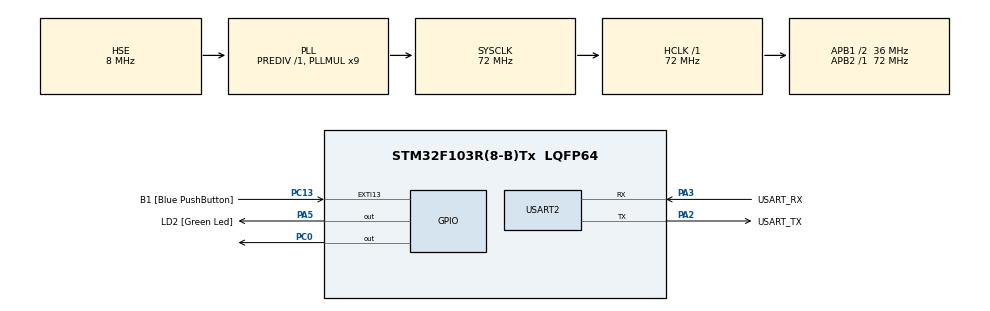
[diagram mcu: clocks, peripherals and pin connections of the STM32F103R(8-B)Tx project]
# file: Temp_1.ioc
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FREERTOS.Queues01=dhtQueue,16,uint16_t,0,Dynamic,NULL,NULL
FREERTOS.Tasks01=SensorTask,24,128,StartSensorTask,Default,NULL,Dynamic,NULL,NULL;UartTask,8,128,StartUartTask,Default,NULL,Dynamic,NULL,NULL
FREERTOS.configUSE_NEWLIB_REENTRANT=1
Mcu.Family=STM32F1
Mcu.Name=STM32F103R(8-B)Tx
Mcu.Package=LQFP64
NVIC.EXTI15_10_IRQn=true\:5\:0\:false\:false\:true\:true\:true\:true\:true
NVIC.PriorityGroup=NVIC_PRIORITYGROUP_4
NVIC.TIM1_UP_IRQn=true\:15\:0\:false\:false\:true\:false\:false\:true\:true
NVIC.TimeBase=TIM1_UP_IRQn
NVIC.TimeBaseIP=TIM1
PA13.GPIO_Label=TMS
PA13.Mode=Serial_Wire
PA13.Signal=SYS_JTMS-SWDIO
PA14.GPIO_Label=TCK
PA14.Mode=Serial_Wire
PA14.Signal=SYS_JTCK-SWCLK
PA2.GPIO_Label=USART_TX
PA2.GPIO_Mode=GPIO_MODE_AF_PP
PA2.GPIO_PuPd=GPIO_NOPULL
PA2.GPIO_Speed=GPIO_SPEED_FREQ_LOW
PA2.Mode=Asynchronous
PA2.Signal=USART2_TX
PA3.GPIO_Label=USART_RX
PA3.GPIO_Mode=GPIO_MODE_AF_PP
PA3.GPIO_PuPd=GPIO_NOPULL
PA3.GPIO_Speed=GPIO_SPEED_FREQ_LOW
PA3.Mode=Asynchronous
PA3.Signal=USART2_RX
PA5.GPIO_Label=LD2 [Green Led]
PA5.GPIO_ModeDefaultOutputPP=GPIO_MODE_OUTPUT_PP
PA5.GPIO_PuPd=GPIO_NOPULL
PA5.GPIO_Speed=GPIO_SPEED_FREQ_LOW
PA5.Signal=GPIO_Output
PB3.GPIO_Label=SWO
PB3.Signal=SYS_JTDO-TRACESWO
PC0.Signal=GPIO_Output
PC13-TAMPER-RTC.GPIO_Label=B1 [Blue PushButton]
PC13-TAMPER-RTC.GPIO_PuPd=GPIO_NOPULL
PC13-TAMPER-RTC.Signal=GPXTI13
PC14-OSC32_IN.Mode=LSE-External-Oscillator
PC14-OSC32_IN.Signal=RCC_OSC32_IN
PC15-OSC32_OUT.Mode=LSE-External-Oscillator
PC15-OSC32_OUT.Signal=RCC_OSC32_OUT
PD0-OSC_IN.Mode=HSE-External-Clock-Source
PD0-OSC_IN.Signal=RCC_OSC_IN
PD1-OSC_OUT.Mode=HSE-External-Clock-Source
PD1-OSC_OUT.Signal=RCC_OSC_OUT
ProjectManager.HeapSize=0x200
ProjectManager.StackSize=0x400
ProjectManager.TargetToolchain=CMake
RCC.AHBFreq_Value=72000000
RCC.APB1CLKDivider=RCC_HCLK_DIV2
RCC.APB1Freq_Value=36000000
RCC.APB1TimFreq_Value=72000000
RCC.APB2Freq_Value=72000000
RCC.APB2TimFreq_Value=72000000
RCC.HCLKFreq_Value=72000000
RCC.PLLMUL=RCC_PLL_MUL9
RCC.PLLSourceVirtual=RCC_PLLSOURCE_HSE
RCC.RTCClockSelection=RCC_RTCCLKSOURCE_LSE
RCC.SYSCLKFreq_VALUE=72000000
RCC.SYSCLKSource=RCC_SYSCLKSOURCE_PLLCLK
RCC.USBFreq_Value=72000000
TIM2.Prescaler=71
USART2.VirtualMode=VM_ASYNC
VP_FREERTOS_VS_CMSIS_V2.Mode=CMSIS_V2
VP_SYS_VS_tim1.Mode=TIM1
VP_TIM2_VS_ClockSourceINT.Mode=Internal
board=NUCLEO-F103RB

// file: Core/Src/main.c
/* USER CODE BEGIN Header */
/**
  ******************************************************************************
  * @file           : main.c
  * @brief          : Main program body
  ******************************************************************************
  * @attention
  *
  * Copyright (c) 2026 STMicroelectronics.
  * All rights reserved.
  *
  * This software is licensed under terms that can be found in the LICENSE file
  * in the root directory of this software component.
  * If no LICENSE file comes with this software, it is provided AS-IS.
  *
  ******************************************************************************
  */
/* USER CODE END Header */
#include "main.h"
#include "cmsis_os.h"
#include "tim.h"
#include "usart.h"
#include "gpio.h"

void SystemClock_Config(void);
void MX_FREERTOS_Init(void);

int main(void)
{

  /* MCU Configuration--------------------------------------------------------*/

  /* Reset of all peripherals, Initializes the Flash interface and the Systick. */
  HAL_Init();

  /* Configure the system clock */
  SystemClock_Config();

  /* Initialize all configured peripherals */
  MX_GPIO_Init();
  MX_USART2_UART_Init();
  MX_TIM2_Init();

  /* Init scheduler */
  osKernelInitialize();  /* Call init function for freertos objects (in cmsis_os2.c) */
  MX_FREERTOS_Init();

  /* Start scheduler */
  osKernelStart();

  /* We should never get here as control is now taken by the scheduler */

  /* Infinite loop */
  while (1)
  {

  }
}

void SystemClock_Config(void)
{
  RCC_OscInitTypeDef RCC_OscInitStruct = {0};
  RCC_ClkInitTypeDef RCC_ClkInitStruct = {0};

  /** Initializes the RCC Oscillators according to the specified parameters
  * in the RCC_OscInitTypeDef structure.
  */
  RCC_OscInitStruct.OscillatorType = RCC_OSCILLATORTYPE_HSE;
  RCC_OscInitStruct.HSEState = RCC_HSE_BYPASS;
  RCC_OscInitStruct.HSEPredivValue = RCC_HSE_PREDIV_DIV1;
  RCC_OscInitStruct.HSIState = RCC_HSI_ON;
  RCC_OscInitStruct.PLL.PLLState = RCC_PLL_ON;
  RCC_OscInitStruct.PLL.PLLSource = RCC_PLLSOURCE_HSE;
  RCC_OscInitStruct.PLL.PLLMUL = RCC_PLL_MUL9;
  if (HAL_RCC_OscConfig(&RCC_OscInitStruct) != HAL_OK)
  {
    Error_Handler();
  }

  /** Initializes the CPU, AHB and APB buses clocks
  */
  RCC_ClkInitStruct.ClockType = RCC_CLOCKTYPE_HCLK|RCC_CLOCKTYPE_SYSCLK
                              |RCC_CLOCKTYPE_PCLK1|RCC_CLOCKTYPE_PCLK2;
  RCC_ClkInitStruct.SYSCLKSource = RCC_SYSCLKSOURCE_PLLCLK;
  RCC_ClkInitStruct.AHBCLKDivider = RCC_SYSCLK_DIV1;
  RCC_ClkInitStruct.APB1CLKDivider = RCC_HCLK_DIV2;
  RCC_ClkInitStruct.APB2CLKDivider = RCC_HCLK_DIV1;

  if (HAL_RCC_ClockConfig(&RCC_ClkInitStruct, FLASH_LATENCY_2) != HAL_OK)
  {
    Error_Handler();
  }
}

void HAL_TIM_PeriodElapsedCallback(TIM_HandleTypeDef *htim)
{
  if (htim->Instance == TIM1)
  {
    HAL_IncTick();
  }
}

void Error_Handler(void)
{
  __disable_irq();
  while (1)
  {
  }
}

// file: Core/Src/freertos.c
/* USER CODE BEGIN Header */
/**
  ******************************************************************************
  * File Name          : freertos.c
  * Description        : Code for freertos applications
  ******************************************************************************
  * @attention
  *
  * Copyright (c) 2026 STMicroelectronics.
  * All rights reserved.
  *
  * This software is licensed under terms that can be found in the LICENSE file
  * in the root directory of this software component.
  * If no LICENSE file comes with this software, it is provided AS-IS.
  *
  ******************************************************************************
  */
/* USER CODE END Header */

#include "main.h"
#include "FreeRTOS.h"
#include "cmsis_os2.h"
#include "stm32f1xx_hal_tim.h"
#include "stm32f1xx_hal_uart.h"
#include "task.h"
#include "cmsis_os.h"
#include "tim.h"
#include "usart.h"
#include <stdint.h>

/* USER CODE BEGIN Includes */

#include <stdio.h>

/* USER CODE END Includes */

/* USER CODE BEGIN PTD */

typedef struct {
    int temperature;
    int humidity;
} DHT_Data_t;

/* USER CODE END PTD */

/* USER CODE BEGIN Variables */

extern TIM_HandleTypeDef htim2;

/* USER CODE END Variables */
/* Definitions for SensorTask */
osThreadId_t SensorTaskHandle;
const osThreadAttr_t SensorTask_attributes = {
  .name = "SensorTask",
  .stack_size = 128 * 4,
  .priority = (osPriority_t) osPriorityNormal,
};
/* Definitions for UartTask */
osThreadId_t UartTaskHandle;
const osThreadAttr_t UartTask_attributes = {
  .name = "UartTask",
  .stack_size = 128 * 4,
  .priority = (osPriority_t) osPriorityLow,
};
/* Definitions for dhtQueue */
osMessageQueueId_t dhtQueueHandle;
const osMessageQueueAttr_t dhtQueue_attributes = {
  .name = "dhtQueue"
};

/* USER CODE BEGIN FunctionPrototypes */

void Set_Pin_Output(void);
void Set_Pin_Input(void);
uint8_t Read_DHT22(int *Temperature, int *Humidity);
void delay_us(uint16_t us);

/* USER CODE END FunctionPrototypes */

void StartSensorTask(void *argument);
void StartUartTask(void *argument);

void MX_FREERTOS_Init(void); /* (MISRA C 2004 rule 8.1) */

void MX_FREERTOS_Init(void) {

  /* Create the queue(s) */
  /* creation of dhtQueue */
  dhtQueueHandle = osMessageQueueNew (16, sizeof(DHT_Data_t), &dhtQueue_attributes);

  /* Create the thread(s) */
  /* creation of SensorTask */
  SensorTaskHandle = osThreadNew(StartSensorTask, NULL, &SensorTask_attributes);

  /* creation of UartTask */
  UartTaskHandle = osThreadNew(StartUartTask, NULL, &UartTask_attributes);

}

void StartSensorTask(void *argument)
{
  /* USER CODE BEGIN StartSensorTask */
  /* Infinite loop */

    DHT_Data_t data;

    for(;;)
    {
        // Start measurement
        if (Read_DHT22(&data.temperature, &data.humidity) ){
            // Send to queue
            osMessageQueuePut(dhtQueueHandle, &data, 0, 0);

        }

        osDelay(3000);
    }

  /* USER CODE END StartSensorTask */
}

void StartUartTask(void *argument)
{
  /* USER CODE BEGIN StartUartTask */
  /* Infinite loop */

    DHT_Data_t received;
    char buf[64];

    for(;;)
    {
        if (osMessageQueueGet(dhtQueueHandle, &received, NULL, osWaitForever) == osOK){
            int temp_int = received.temperature / 10;
            int temp_dec = received.temperature % 10;

            int hum_int = received.humidity / 10;
            int hum_dec = received.humidity % 10;

            int len = sprintf(buf, "Temp: %d.%d C, Hum: %d.%d %%\r\n", temp_int, temp_dec, hum_int, hum_dec);
            HAL_UART_Transmit(&huart2, (uint8_t*)buf, len, 100);
        }

        osDelay(1);
    }
  /* USER CODE END StartUartTask */
}

/* USER CODE BEGIN Application */

void Set_Pin_Output(void) {
    GPIO_InitTypeDef GPIO_InitStruct = {0};
    GPIO_InitStruct.Pin = GPIO_PIN_0;
    GPIO_InitStruct.Mode = GPIO_MODE_OUTPUT_PP; // Push-pull output
    GPIO_InitStruct.Speed = GPIO_SPEED_FREQ_LOW;
    HAL_GPIO_Init(GPIOC, &GPIO_InitStruct);
}

void Set_Pin_Input(void) {
    GPIO_InitTypeDef GPIO_InitStruct = {0};
    GPIO_InitStruct.Pin = GPIO_PIN_0;
    GPIO_InitStruct.Mode = GPIO_MODE_INPUT;     // Input
    GPIO_InitStruct.Pull = GPIO_NOPULL;
    HAL_GPIO_Init(GPIOC, &GPIO_InitStruct);
}

uint8_t Read_DHT22(int *Temperature, int *Humidity) {
    uint8_t data[5] = {0,0,0,0,0};
    uint8_t i, j;

    vTaskSuspendAll(); // FreeRTOS stop for precise timing

    // 1. START signal
    Set_Pin_Output();
    HAL_GPIO_WritePin(GPIOC, GPIO_PIN_0, 0); // Pull down to GND
    delay_us(18000);                         // 18ms waiting
    HAL_GPIO_WritePin(GPIOC, GPIO_PIN_0, 1); // Pull up to VDD
    delay_us(30);                            // 30us waiting
    Set_Pin_Input();                         // Switch to input

    // 2. Waiting for the response
    // There is no error handler here
    while (HAL_GPIO_ReadPin(GPIOC, GPIO_PIN_0));    // Waiting for the LOW
    while (!(HAL_GPIO_ReadPin(GPIOC, GPIO_PIN_0))); // Waiting for the HIGH
    while (HAL_GPIO_ReadPin(GPIOC, GPIO_PIN_0));    // Waiting for the LOW (start of data)

    // 3. 40 BIT reading
    for (i = 0; i < 5; i++) {
        for (j = 0; j < 8; j++) {
            while (!(HAL_GPIO_ReadPin(GPIOC, GPIO_PIN_0))); // Waiting for the HIGH
            delay_us(40); // If it is still hight after 40us, then it is a "1" bit
            if (!(HAL_GPIO_ReadPin(GPIOC, GPIO_PIN_0))) {
                data[i] &= ~(1 << (7 - j)); // "0" bit
            } else {
                data[i] |= (1 << (7 - j));  // "1" bit
                while (HAL_GPIO_ReadPin(GPIOC, GPIO_PIN_0)); // Waiting for the end of the nex bit

            }
        }
    }

    xTaskResumeAll(); // FreeRTOS continue

    // 4.DATA CONVERSION (without checksum verification)
    *Humidity = (int)((data[0] << 8) | data[1]);
    *Temperature = (int)((data[2] << 8) | data[3]);

    return 1; // Success!
}

void delay_us(uint16_t us) {
    __HAL_TIM_SET_COUNTER(&htim2, 0);            // Reset counter
    HAL_TIM_Base_Start(&htim2);                  // Timer start
    while (__HAL_TIM_GET_COUNTER(&htim2) < us);  // Waiting
    HAL_TIM_Base_Stop(&htim2);                   // Timer stop
}

/* USER CODE END Application */
